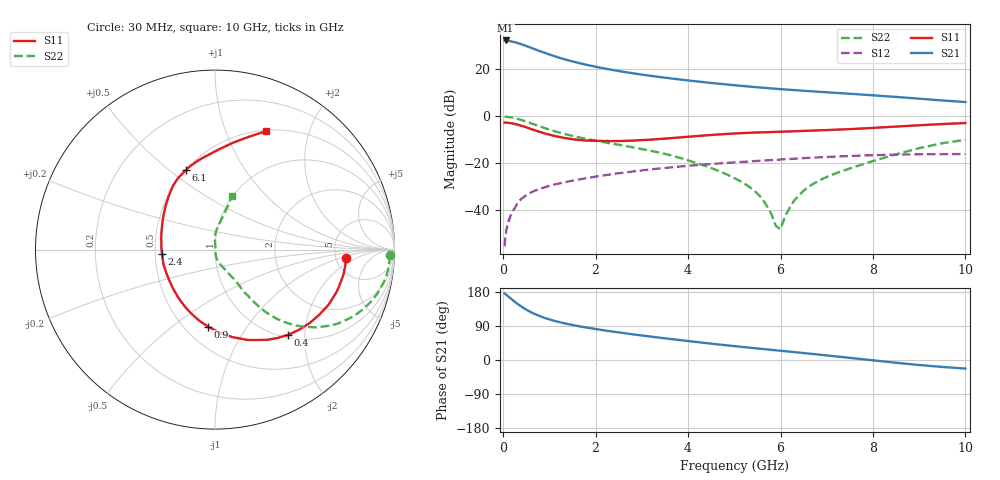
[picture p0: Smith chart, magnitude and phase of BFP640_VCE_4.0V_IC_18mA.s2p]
! (c) 2013  Infineon Technologies AG, Munich
! Infineon Technologies  Discrete & RF Semiconductors
! BFP640
! VCE =  4.0 V,  IC =  18 mA
! Common Emitter S-Parameters:  Apr 2013
# GHz  S  MA  R  50
!  f  S11  S21  S12  S22
! GHz  MAG  ANG  MAG  ANG  MAG  ANG  MAG  ANG
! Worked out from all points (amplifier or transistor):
!   99 points, 30 MHz to 10 GHz, reference 50 ohm
!   highest |S21| = 32.3 dB at 50 MHz (marker M1)
!   |S21| within 3 dB of that: start of sweep to 586.5 MHz
!   unconditionally stable (mu >= 1): 2.86 GHz to end of sweep
!   at 350 MHz: K = 0.29, MSG = 33.5 dB, |S12| = -36.0 dB
!   at 3.5 GHz: K = 1.03, MAG = 18.1 dB, |S12| = -22.0 dB
!   at 10 GHz: K = 1.08, MAG = 9.4 dB, |S12| = -16.1 dB
!   S11 on the Smith chart (normalised r, x): 30 MHz: 6.24, -1.24; 400 MHz: 1.05, -1.64; 900 MHz: 0.64, -0.68; 2.4 GHz: 0.54, -0.03; 6.1 GHz: 0.50, +0.57; 10 GHz: 0.51, +1.39
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0.03  0.7331 -3.6  41.27 175.5  0.0017 53.1  0.9728 -1.9
0.05  0.7315 -6.3  41.36 173.8  0.0031 70.8  0.9747 -3.6
0.15  0.7167 -19.5  39.81 163.6  0.0072 77.9  0.9537 -11.7
0.25  0.6843 -32.2  38 153.6  0.011 74.2  0.9122 -19.0
0.35  0.6463 -43.9  35.45 144.6  0.0158 69.2  0.8585 -25.5
0.4  0.6252 -49.5  34.12 140.5  0.0175 68.8  0.8281 -28.3
0.5  0.5803 -60.1  31.49 132.9  0.0206 65.0  0.7681 -33.5
0.6  0.5362 -70.0  28.95 126.2  0.0238 62.1  0.7098 -37.6
0.7  0.4969 -78.8  26.53 120.5  0.0262 60.4  0.6545 -41.1
0.9  0.4303 -95.3  22.48 110.9  0.0306 57.6  0.5588 -46.2
1.1  0.3828 -109.4  19.22 103.5  0.035 55.5  0.4844 -49.5
1.2  0.3647 -115.8  17.88 100.4  0.0368 55.0  0.4537 -50.7
1.4  0.3353 -128.0  15.68 94.8  0.0405 53.8  0.4032 -52.4
1.7  0.309 -144.3  13.2 87.8  0.046 51.9  0.345 -53.6
2.4  0.2961 -175.0  9.586 74.5  0.0592 48.3  0.2567 -55.9
3.4  0.3286 153.2  6.846 58.7  0.0775 41.7  0.1658 -59.4
5.1  0.4339 121.0  4.5 35.4  0.1055 28.4  0.0428 -81.2
5.9  0.4648 112.2  3.858 25.6  0.118 22.4  0.0046 -35.5
6.1  0.4729 110.2  3.732 23.2  0.1215 20.8  0.0074 65.4
6.7  0.4958 103.3  3.398 15.8  0.131 15.5  0.0358 88.4
8.5  0.6033 80.5  2.584 -7.3  0.1521 -1.8  0.1544 79.5
10  0.7177 66.6  2.009 -22.6  0.1569 -13.5  0.3149 72.7
